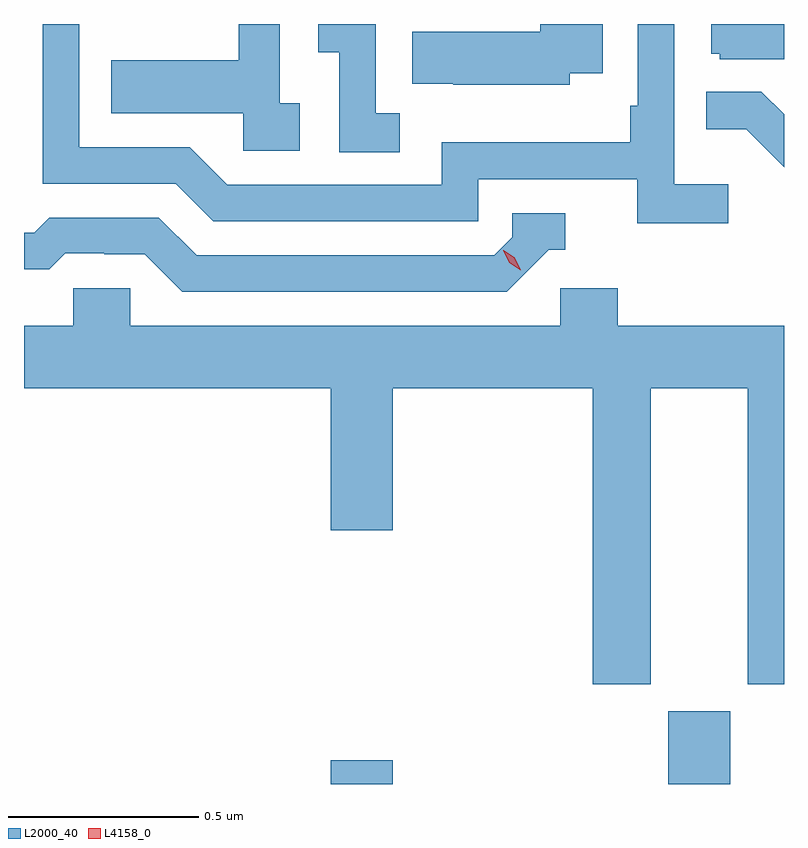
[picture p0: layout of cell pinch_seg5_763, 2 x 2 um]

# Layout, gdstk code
import gdstk
lib = gdstk.Library(unit=1e-6, precision=1e-09)
def R(c, l, rs):  # rectangles x0, y0, x1, y1
    for r in rs: c.add(gdstk.rectangle(r[:2], r[2:], *l))
def P(c, l, *ps):  # polygons
    for p in ps: c.add(gdstk.Polygon(p, *l))
L2000_40 = (2000, 40)
L4158_0 = (4158, 0)

pinch_seg5_763 = lib.new_cell('pinch_seg5_763')
R(pinch_seg5_763, L2000_40, [(848.324,910.33,848.488,910.393), (849.212,910.33,849.376,910.521)])
P(pinch_seg5_763, L2000_40, [(849.517,912.33),(849.326,912.33),(849.326,912.252),(849.348,912.252),(849.348,912.237),(849.517,912.237)],
  [(848.242,912.122),(848.19,912.122),(848.19,912.33),(848.082,912.33),(848.082,912.235),(847.747,912.235),(847.747,912.095),(848.094,912.095),(848.094,911.997),(848.242,911.997)],
  [(849.37,911.908),(849.228,911.908),(849.228,912.33),(849.132,912.33),(849.132,912.115),(849.112,912.115),(849.112,912.019),(848.616,912.019),(848.616,911.907),(848.052,911.907),(847.953,912.006),(847.662,912.006),(847.662,912.33),(847.566,912.33),(847.566,911.91),(847.916,911.91),(848.015,911.811),(848.712,911.811),(848.712,911.922),(849.131,911.922),(849.131,911.806),(849.37,911.806)],
  [(848.506,912.095),(848.442,912.095),(848.442,912.33),(848.291,912.33),(848.291,912.256),(848.346,912.256),(848.346,911.992),(848.506,911.992)],
  [(848.953,912.2),(849.04,912.2),(849.04,912.33),(848.875,912.33),(848.875,912.31),(848.539,912.31),(848.539,912.173),(848.647,912.173),(848.647,912.17),(848.953,912.17)],
  [(849.517,912.092),(849.457,912.152),(849.313,912.152),(849.313,912.053),(849.417,912.053),(849.517,911.953)],
  [(848.898,911.736),(848.941,911.736),(848.941,911.832),(848.802,911.832),(848.802,911.769),(848.754,911.721),(847.971,911.721),(847.872,911.82),(847.583,911.82),(847.544,911.781),(847.517,911.781),(847.517,911.685),(847.583,911.685),(847.625,911.727),(847.728,911.727),(847.728,911.724),(847.835,911.724),(847.934,911.625),(848.787,911.625)],
  [(849.166,911.372),(849.422,911.372),(849.422,910.593),(849.517,910.593),(849.517,911.536),(849.08,911.536),(849.08,911.634),(848.928,911.634),(848.928,911.536),(847.797,911.536),(847.797,911.634),(847.647,911.634),(847.647,911.536),(847.517,911.536),(847.517,911.372),(848.324,911.372),(848.324,910.998),(848.488,910.998),(848.488,911.372),(849.014,911.372),(849.014,910.593),(849.166,910.593)])
P(pinch_seg5_763, L4158_0, [(848.824,911.682),(848.794,911.702),(848.778,911.735),(848.778,911.735),(848.779,911.735),(848.809,911.715),(848.824,911.682),(848.824,911.682)])

lib.write_gds('pinch_seg5_763.gds')
